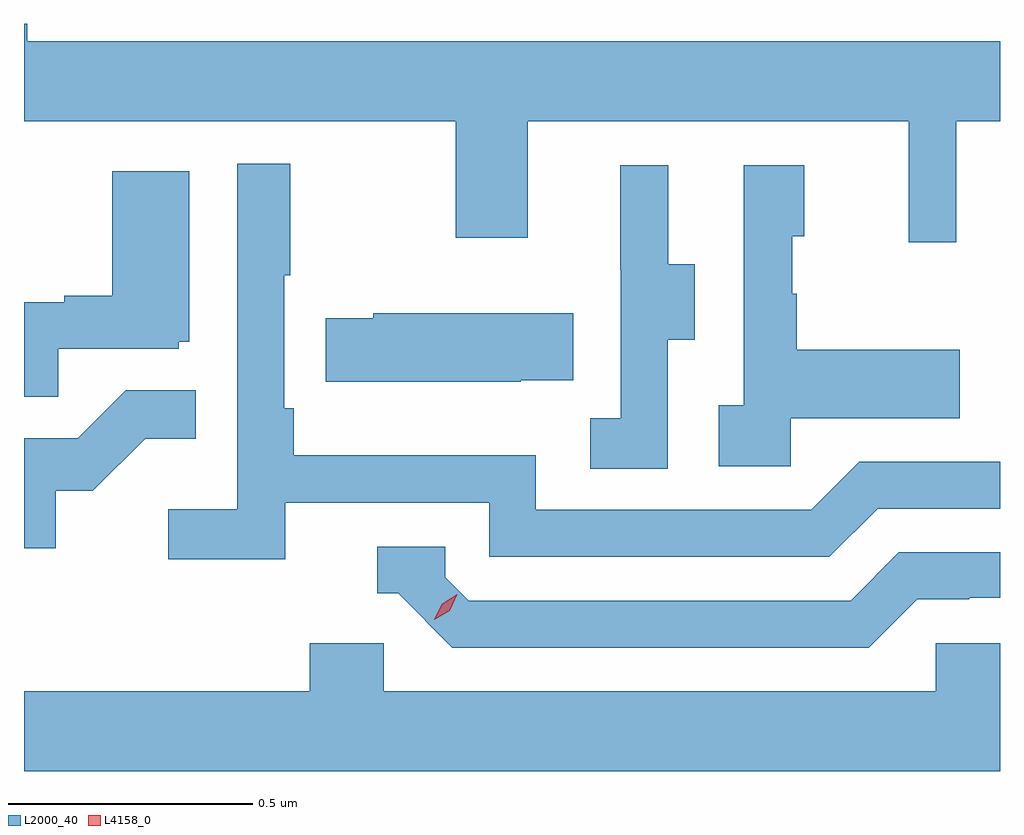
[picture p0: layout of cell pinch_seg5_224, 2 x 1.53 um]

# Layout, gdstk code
import gdstk
lib = gdstk.Library(unit=1e-6, precision=1e-09)
def P(c, l, *ps):  # polygons
    for p in ps: c.add(gdstk.Polygon(p, *l))
L2000_40 = (2000, 40)
L4158_0 = (4158, 0)

pinch_seg5_224 = lib.new_cell('pinch_seg5_224')
P(pinch_seg5_224, L2000_40, [(957.044,899.583),(957.037,899.583),(957.037,899.384),(957.922,899.384),(957.922,899.145),(958.069,899.145),(958.069,899.384),(958.85,899.384),(958.85,899.136),(958.947,899.136),(958.947,899.384),(959.037,899.384),(959.037,899.548),(957.044,899.548)],
  [(957.572,898.602),(957.99,898.602),(957.99,898.491),(958.687,898.491),(958.786,898.59),(959.037,898.59),(959.037,898.686),(958.749,898.686),(958.65,898.587),(958.086,898.587),(958.086,898.699),(957.59,898.699),(957.59,898.795),(957.57,898.795),(957.57,899.068),(957.583,899.068),(957.583,899.296),(957.474,899.296),(957.474,898.588),(957.333,898.588),(957.333,898.486),(957.572,898.486)],
  [(958.356,898.936),(958.411,898.936),(958.411,899.091),(958.357,899.091),(958.357,899.293),(958.259,899.293),(958.259,899.079),(958.26,899.079),(958.26,898.775),(958.197,898.775),(958.197,898.672),(958.356,898.672)],
  [(958.608,898.775),(958.955,898.775),(958.955,898.915),(958.621,898.915),(958.621,899.03),(958.611,899.03),(958.611,899.148),(958.636,899.148),(958.636,899.293),(958.512,899.293),(958.512,898.802),(958.461,898.802),(958.461,898.677),(958.608,898.677)],
  [(957.107,898.917),(957.354,898.917),(957.354,898.932),(957.376,898.932),(957.376,899.281),(957.218,899.281),(957.218,899.026),(957.119,899.026),(957.119,899.013),(957.037,899.013),(957.037,898.819),(957.107,898.819)],
  [(958.055,898.853),(958.163,898.853),(958.163,898.99),(957.753,898.99),(957.753,898.98),(957.655,898.98),(957.655,898.85),(958.055,898.85)],
  [(957.102,898.626),(957.178,898.626),(957.285,898.733),(957.389,898.733),(957.389,898.832),(957.245,898.832),(957.147,898.734),(957.037,898.734),(957.037,898.509),(957.102,898.509)],
  [(958.867,898.404),(958.974,898.404),(958.974,898.407),(959.037,898.407),(959.037,898.5),(958.83,898.5),(958.731,898.401),(957.948,898.401),(957.9,898.449),(957.9,898.512),(957.761,898.512),(957.761,898.416),(957.804,898.416),(957.915,898.305),(958.768,898.305)],
  [(959.037,898.314),(958.905,898.314),(958.905,898.216),(957.774,898.216),(957.774,898.314),(957.623,898.314),(957.623,898.216),(957.037,898.216),(957.037,898.052),(959.037,898.052)])
P(pinch_seg5_224, L4158_0, [(957.878,898.362),(957.878,898.363),(957.894,898.395),(957.925,898.414),(957.925,898.414),(957.925,898.414),(957.909,898.381),(957.878,898.362)])

lib.write_gds('pinch_seg5_224.gds')
